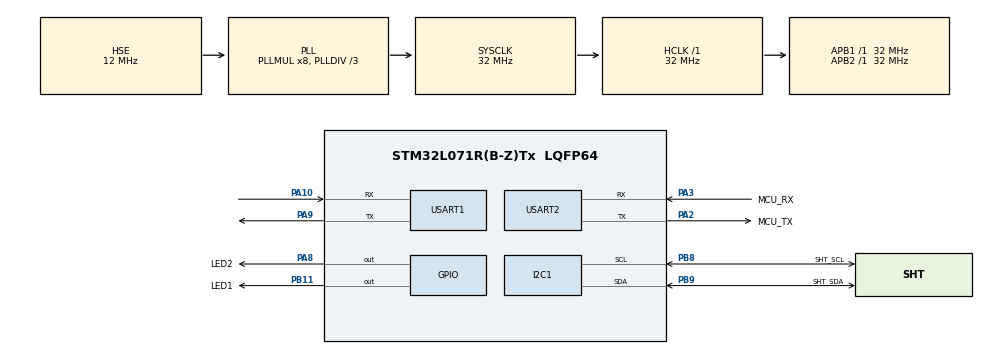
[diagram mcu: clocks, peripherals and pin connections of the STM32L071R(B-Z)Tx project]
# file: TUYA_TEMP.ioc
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I2C1.Timing=0x00707CBB
Mcu.Family=STM32L0
Mcu.Name=STM32L071R(B-Z)Tx
Mcu.Package=LQFP64
NVIC.USART1_IRQn=true\:0\:0\:false\:false\:true\:true\:true
NVIC.USART2_IRQn=true\:0\:0\:false\:false\:true\:true\:true
PA10.Mode=Asynchronous
PA10.Signal=USART1_RX
PA2.GPIO_Label=MCU_TX
PA2.Mode=Asynchronous
PA2.Signal=USART2_TX
PA3.GPIO_Label=MCU_RX
PA3.Mode=Asynchronous
PA3.Signal=USART2_RX
PA8.GPIO_Label=LED2
PA8.Signal=GPIO_Output
PA9.Mode=Asynchronous
PA9.Signal=USART1_TX
PB11.GPIO_Label=LED1
PB11.GPIO_PuPd=GPIO_NOPULL
PB11.Signal=GPIO_Output
PB8.GPIO_Label=SHT_SCL
PB8.Mode=I2C
PB8.Signal=I2C1_SCL
PB9.GPIO_Label=SHT_SDA
PB9.Mode=I2C
PB9.Signal=I2C1_SDA
PH0-OSC_IN.Mode=HSE-External-Oscillator
PH0-OSC_IN.Signal=RCC_OSC_IN
PH1-OSC_OUT.Mode=HSE-External-Oscillator
PH1-OSC_OUT.Signal=RCC_OSC_OUT
ProjectManager.HeapSize=0x200
ProjectManager.StackSize=0x400
ProjectManager.TargetToolchain=MDK-ARM V5
RCC.AHBFreq_Value=32000000
RCC.APB1Freq_Value=32000000
RCC.APB1TimFreq_Value=32000000
RCC.APB2Freq_Value=32000000
RCC.APB2TimFreq_Value=32000000
RCC.HCLKFreq_Value=32000000
RCC.HSE_VALUE=12000000
RCC.HSI16_VALUE=16000000
RCC.HSI_VALUE=16000000
RCC.LSE_VALUE=32768
RCC.MSI_VALUE=2097000
RCC.PLLDIV=RCC_PLLDIV_3
RCC.PLLMUL=RCC_PLLMUL_8
RCC.PLLSourceVirtual=RCC_PLLSOURCE_HSE
RCC.SYSCLKFreq_VALUE=32000000
RCC.SYSCLKSource=RCC_SYSCLKSOURCE_PLLCLK
RCC.VCOOutputFreq_Value=96000000
USART1.VirtualMode-Asynchronous=VM_ASYNC
USART2.VirtualMode-Asynchronous=VM_ASYNC
board=custom

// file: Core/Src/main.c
#include "main.h"
#include "i2c.h"
#include "usart.h"
#include "gpio.h"

/* USER CODE BEGIN Includes */
//#include "oled.h"
#include "sht30.h"
#include "wifi.h"
/* USER CODE END Includes */

/* USER CODE BEGIN PV */
uint8_t uart_temp;

/* USER CODE END PV */

void SystemClock_Config(void);

int main(void)
{
  /* USER CODE BEGIN 1 */
	uint8_t recv_dat[6] = {0};
    float temperature = 0.0;
    float humidity = 0.0;
    char ch[50] = {0};
	unsigned long Led_i = 0;
  /* USER CODE END 1 */

  /* MCU Configuration--------------------------------------------------------*/

  /* Reset of all peripherals, Initializes the Flash interface and the Systick. */
  HAL_Init();

  /* Configure the system clock */
  SystemClock_Config();

  /* Initialize all configured peripherals */
  MX_GPIO_Init();
  MX_I2C1_Init();
  MX_USART1_UART_Init();
  MX_USART2_UART_Init();
  /* USER CODE BEGIN 2 */

    HAL_UART_Receive_IT(&huart1,&uart_temp,1);
	HAL_UART_Receive_IT(&huart2,&uart_temp,1);

    //OLED_Init();
    //OLED_Display_On();
    //OLED_Clear();
    SHT30_Reset();
    if (SHT30_Init() == HAL_OK)
	printf("\r\nsht30 init ok\r\n");
//        OLED_ShowString(0, 0, "sht30 init ok", sizeof("sht30 init ok"));
    else
		printf("\r\nsht30 init fail\r\n");
//        OLED_ShowString(0, 0, "sht30 init fail", sizeof("sht30 init fail"));
	HAL_Delay(2000);
	wifi_protocol_init();

	HAL_Delay(2000);
	mcu_set_wifi_mode(SMART_CONFIG);

  /* USER CODE END 2 */

  /* Infinite loop */
  /* USER CODE BEGIN WHILE */

  while (1)
  {
	wifi_uart_service();
	//HAL_GPIO_TogglePin(GPIOA, GPIO_PIN_2);

	  switch(mcu_get_wifi_work_state())
		{
				case SMART_CONFIG_STATE:
				{
					if(Led_i >= 250)
					{
						Led_i = 0;						HAL_GPIO_TogglePin(GPIOB, GPIO_PIN_11);
					}
				}//处于 Smart 配置状态，即 LED 快闪
				break;
				case AP_STATE:
				{
					if(Led_i >= 1500)
					{
						Led_i = 0;						HAL_GPIO_TogglePin(GPIOB, GPIO_PIN_11);
					}
				}//处于 AP 配置状态，即 LED 慢闪
				break;
				case WIFI_NOT_CONNECTED:
				{
					if(Led_i >= 250)
					{
						Led_i = 0;						HAL_GPIO_WritePin(GPIOB, GPIO_PIN_11,GPIO_PIN_SET);
					}
				}//Wi-Fi 配置完成，正在连接路由器，即 LED 常暗
				break;
				case WIFI_CONNECTED:
				{
					if(Led_i >= 250)
					{
						Led_i = 0;						HAL_GPIO_WritePin(GPIOB, GPIO_PIN_11,GPIO_PIN_RESET);
					}
				}//路由器连接成功，即 LED 常亮
				break;
				default:break;
		}

        if (SHT30_Read_Dat(recv_dat) == HAL_OK) {
            if (SHT30_Dat_To_Float(recv_dat, &temperature, &humidity) == 0) {
                sprintf(ch, "temperature = %d, humidity = %d", (uint32_t) temperature, (uint32_t) humidity);
                //OLED_ShowString(0, 0, ch, strlen(ch));
				printf("\r\ntemperature = %d, humidity = %d\r\n", (uint32_t) temperature, (uint32_t) humidity);
            } else {
                sprintf(ch, "crc check fail.");
				printf("crc check fail.");
                //OLED_ShowString(0, 0, ch, strlen(ch));
            }
        } else {
            sprintf(ch, "read data from sht30 fail.");
			printf("read data from sht30 fail.");
            //OLED_ShowString(0, 0, ch, strlen(ch));
        }
        mcu_dp_value_update(1, (uint32_t) (temperature * 10));
        HAL_Delay(1000);
        mcu_dp_value_update(2, (uint32_t) (humidity));
        HAL_Delay(1000);

		//        OLED_Clear();
    /* USER CODE END WHILE */

  }
}

void SystemClock_Config(void)
{
  RCC_OscInitTypeDef RCC_OscInitStruct = {0};
  RCC_ClkInitTypeDef RCC_ClkInitStruct = {0};
  RCC_PeriphCLKInitTypeDef PeriphClkInit = {0};

  /** Configure the main internal regulator output voltage
  */
  __HAL_PWR_VOLTAGESCALING_CONFIG(PWR_REGULATOR_VOLTAGE_SCALE1);
  /** Initializes the RCC Oscillators according to the specified parameters
  * in the RCC_OscInitTypeDef structure.
  */
  RCC_OscInitStruct.OscillatorType = RCC_OSCILLATORTYPE_HSE;
  RCC_OscInitStruct.HSEState = RCC_HSE_ON;
  RCC_OscInitStruct.PLL.PLLState = RCC_PLL_ON;
  RCC_OscInitStruct.PLL.PLLSource = RCC_PLLSOURCE_HSE;
  RCC_OscInitStruct.PLL.PLLMUL = RCC_PLLMUL_8;
  RCC_OscInitStruct.PLL.PLLDIV = RCC_PLLDIV_3;
  if (HAL_RCC_OscConfig(&RCC_OscInitStruct) != HAL_OK)
  {
    Error_Handler();
  }
  /** Initializes the CPU, AHB and APB buses clocks
  */
  RCC_ClkInitStruct.ClockType = RCC_CLOCKTYPE_HCLK|RCC_CLOCKTYPE_SYSCLK
                              |RCC_CLOCKTYPE_PCLK1|RCC_CLOCKTYPE_PCLK2;
  RCC_ClkInitStruct.SYSCLKSource = RCC_SYSCLKSOURCE_PLLCLK;
  RCC_ClkInitStruct.AHBCLKDivider = RCC_SYSCLK_DIV1;
  RCC_ClkInitStruct.APB1CLKDivider = RCC_HCLK_DIV1;
  RCC_ClkInitStruct.APB2CLKDivider = RCC_HCLK_DIV1;

  if (HAL_RCC_ClockConfig(&RCC_ClkInitStruct, FLASH_LATENCY_1) != HAL_OK)
  {
    Error_Handler();
  }
  PeriphClkInit.PeriphClockSelection = RCC_PERIPHCLK_USART1|RCC_PERIPHCLK_USART2
                              |RCC_PERIPHCLK_I2C1;
  PeriphClkInit.Usart1ClockSelection = RCC_USART1CLKSOURCE_PCLK2;
  PeriphClkInit.Usart2ClockSelection = RCC_USART2CLKSOURCE_PCLK1;
  PeriphClkInit.I2c1ClockSelection = RCC_I2C1CLKSOURCE_PCLK1;
  if (HAL_RCCEx_PeriphCLKConfig(&PeriphClkInit) != HAL_OK)
  {
    Error_Handler();
  }
}

void Error_Handler(void)
{
	 __disable_irq();
    while (1) {
    }
}

/************************ (C) COPYRIGHT STMicroelectronics *****END OF FILE****/
